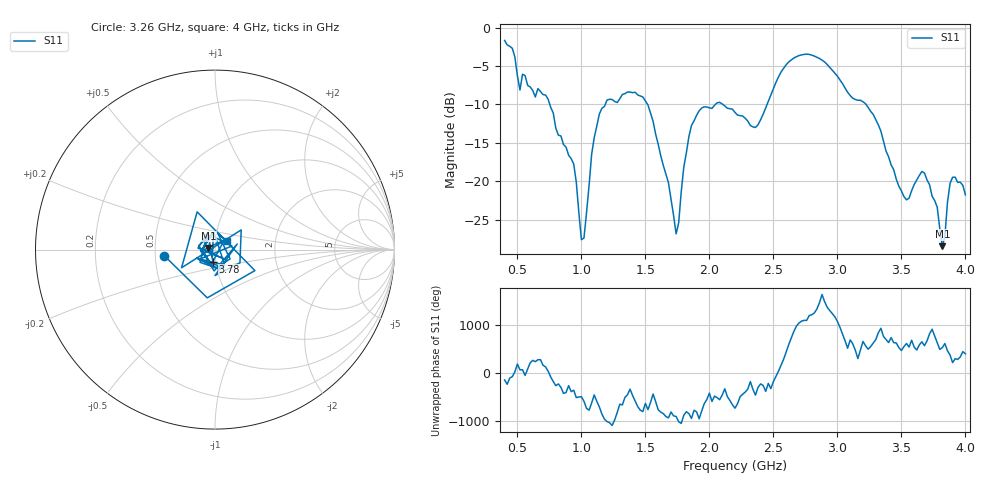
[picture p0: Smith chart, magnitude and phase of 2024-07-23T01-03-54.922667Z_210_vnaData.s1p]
!Created with skrf (http://scikit-rf.org).
# Hz S RI R 50.0
!freq ReS11 ImS11
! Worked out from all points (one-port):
!   181 points, 400 MHz to 4 GHz, reference 50 ohm
!   lowest |S11| = -28.4 dB at 3.82 GHz (marker M1), VSWR 1.08, Z = 46.5 + j0.888 ohm
!   |S11| at or under -10 dB: 753.1 MHz to 1.186 GHz (433.1 MHz wide, 44.7 % of centre); 1.517 GHz to 2.047 GHz (529.1 MHz wide, 29.7 % of centre); 3.224 GHz to end of sweep (the widest 3 of 4)
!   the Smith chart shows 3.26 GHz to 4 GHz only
!   S11 on the Smith chart (normalised r, x): 3.26 GHz: 0.56, -0.04; 3.78 GHz: 0.97, -0.13; 4 GHz: 1.13, +0.11
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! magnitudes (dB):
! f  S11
! 400 MHz  -1.7
! 460 MHz  -2.7
! 520 MHz  -8.1
! 720 MHz  -8.8
! 860 MHz  -15.2
! 940 MHz  -17.8
! 1 GHz  -27.6
! 1.02 GHz  -27.4
! 1.08 GHz  -16.5
! 1.14 GHz  -11.2
! 1.3 GHz  -9.3
! 1.52 GHz  -10.1
! 1.74 GHz  -26.8
! 1.76 GHz  -25.4
! 1.8 GHz  -18.1
! 1.9 GHz  -11.4
! 2.2 GHz  -11.0
! 2.36 GHz  -13.0
! 2.66 GHz  -4.0
! 2.88 GHz  -4.2
! 3.1 GHz  -8.8
! 3.26 GHz  -10.9
! 3.56 GHz  -22.2
! 3.66 GHz  -18.7
! 3.78 GHz  -23.4
! 3.82 GHz  -28.4
! 3.9 GHz  -19.5
! 4 GHz  -21.8
